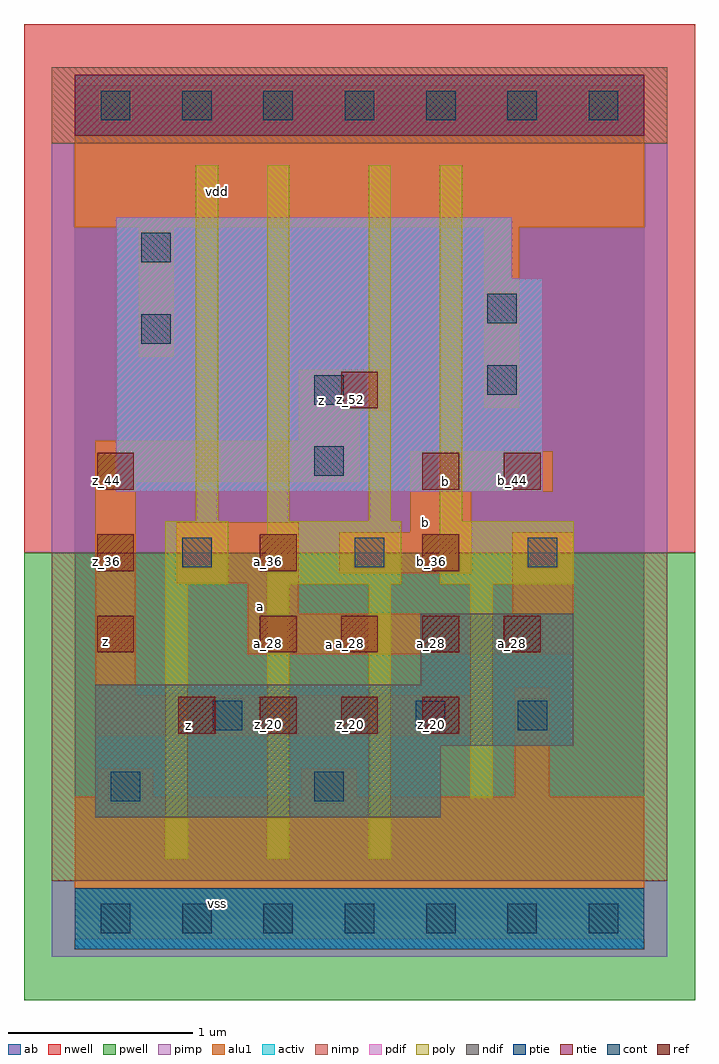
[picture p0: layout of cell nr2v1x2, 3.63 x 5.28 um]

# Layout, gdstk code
import gdstk
lib = gdstk.Library(unit=1e-6, precision=2.5e-09)
def R(c, l, rs):  # rectangles x0, y0, x1, y1
    for r in rs: c.add(gdstk.rectangle(r[:2], r[2:], *l))
def A(c, l, x, y, w, h, nx, ny, dx, dy):  # array of equal rectangles
    R(c, l, [(x+i*dx, y+j*dy, x+i*dx+w, y+j*dy+h) for i in range(nx) for j in range(ny)])
ndif = (3, 0)
pdif = (4, 0)
ntie = (5, 0)
ptie = (6, 0)
ref = (24, 0)
cont = (25, 0)
pwell = (41, 0)
nwell = (42, 0)
activ = (43, 0)
pimp = (44, 0)
nimp = (45, 0)
poly = (46, 0)
alu1 = (49, 0)
ab = (63, 0)

nr2v1x2 = lib.new_cell('nr2v1x2')
R(nr2v1x2, ndif, [(0.11,0.55,1.98,0.935), (0.11,0.935,2.695,1.265), (1.87,1.265,2.695,1.65)])
R(nr2v1x2, pdif, [(0.22,2.31,2.53,3.465), (0.22,3.465,2.365,3.795)])
R(nr2v1x2, ntie, [(0,4.235,3.08,4.565)])
R(nr2v1x2, ptie, [(0,-0.165,3.08,0.165)])
A(nr2v1x2, ref, 0.56, 1, 0.2, 0.2, 4, 1, 0.44, 0)
A(nr2v1x2, ref, 1, 1.44, 0.2, 0.2, 4, 1, 0.44, 0)
A(nr2v1x2, ref, 0.12, 1.88, 0.2, 0.2, 3, 1, 0.88, 0)
R(nr2v1x2, ref, [(0.12,1.44,0.32,1.64), (0.12,2.32,0.32,2.52), (1.88,2.32,2.08,2.52), (2.32,2.32,2.52,2.52), (1.44,2.76,1.64,2.96)])
A(nr2v1x2, cont, 0.14, -0.08, 0.16, 0.16, 7, 2, 0.44, 4.4)
A(nr2v1x2, cont, 0.58, 1.9, 0.16, 0.16, 3, 1, 0.935, 0)
R(nr2v1x2, cont, [(0.195,0.635,0.355,0.795), (1.295,0.635,1.455,0.795), (0.745,1.02,0.905,1.18), (1.845,1.02,2.005,1.18), (2.395,1.02,2.555,1.18), (1.295,2.395,1.455,2.555), (1.295,2.78,1.455,2.94), (2.23,2.835,2.39,2.995), (0.36,3.11,0.52,3.27), (2.23,3.22,2.39,3.38), (0.36,3.55,0.52,3.71)])
R(nr2v1x2, pwell, [(-0.275,-0.44,3.355,1.98)])
R(nr2v1x2, nwell, [(-0.275,1.98,3.355,4.84)])
R(nr2v1x2, activ, [(0,-0.165,3.08,0.165), (0.11,0.55,1.98,0.935), (0.11,0.935,2.695,1.265), (1.87,1.265,2.695,1.65), (0.22,2.31,2.53,3.465), (0.22,3.465,2.365,3.795), (0,4.235,3.08,4.565)])
R(nr2v1x2, pimp, [(-0.125,-0.205,3.205,0.205), (-0.125,1.98,3.205,4.195)])
R(nr2v1x2, nimp, [(-0.125,0.205,3.205,1.98), (-0.125,4.195,3.205,4.605)])
A(nr2v1x2, poly, 0.49, 0.325, 0.12, 1.485, 3, 1, 0.55, 0)
R(nr2v1x2, poly, [(2.14,0.655,2.26,1.81), (0.49,1.81,0.83,2.15), (1.04,1.81,1.765,2.15), (1.975,1.81,2.7,2.15), (0.655,2.15,0.775,4.075), (1.04,2.15,1.16,4.075), (1.59,2.15,1.71,4.075), (1.975,2.15,2.095,4.075)])
R(nr2v1x2, alu1, [(0,-0.11,3.08,0.66), (0.125,0.66,0.425,0.81), (1.225,0.66,1.525,0.81), (2.38,0.66,2.57,1.25), (0.11,0.99,2.145,1.21), (0.11,1.21,0.33,2.365), (0.935,1.43,2.695,1.65), (0.935,1.65,1.21,1.815), (2.365,1.65,2.695,2.09), (0.55,1.815,1.21,2.145), (1.43,1.87,2.145,2.09), (1.815,2.09,2.145,2.31), (1.815,2.31,2.585,2.53), (0.11,2.365,1.54,2.585), (1.21,2.585,1.54,2.75), (1.21,2.75,1.705,2.97), (2.215,2.765,2.405,3.74), (0.345,3.04,0.535,3.74), (0,3.74,3.08,4.51)])
R(nr2v1x2, ab, [(0,0,3.08,4.4)])
nr2v1x2.add(gdstk.Label('vss', (0.77,0.0825), layer=49, texttype=0))
nr2v1x2.add(gdstk.Label('z', (0.6175,1.045), layer=49, texttype=0))
nr2v1x2.add(gdstk.Label('a', (1.375,1.485), layer=49, texttype=0))
nr2v1x2.add(gdstk.Label('a', (1.0025,1.69), layer=49, texttype=0))
nr2v1x2.add(gdstk.Label('b', (1.8975,2.145), layer=49, texttype=0))
nr2v1x2.add(gdstk.Label('b', (2.0075,2.365), layer=49, texttype=0))
nr2v1x2.add(gdstk.Label('z', (0.165,1.4975), layer=49, texttype=0))
nr2v1x2.add(gdstk.Label('z', (1.3325,2.805), layer=49, texttype=0))
nr2v1x2.add(gdstk.Label('vdd', (0.77,3.9325), layer=49, texttype=0))
nr2v1x2.add(gdstk.Label('a_28', (1.05,1.49), layer=24, texttype=0))
nr2v1x2.add(gdstk.Label('z_20', (0.61,1.05), layer=24, texttype=0))
nr2v1x2.add(gdstk.Label('z_28', (0.17,1.49), layer=24, texttype=0))
nr2v1x2.add(gdstk.Label('b_44', (2.37,2.37), layer=24, texttype=0))
nr2v1x2.add(gdstk.Label('a_28', (2.37,1.49), layer=24, texttype=0))
nr2v1x2.add(gdstk.Label('z_44', (0.17,2.37), layer=24, texttype=0))
nr2v1x2.add(gdstk.Label('z_36', (0.17,1.93), layer=24, texttype=0))
nr2v1x2.add(gdstk.Label('b_44', (1.93,2.37), layer=24, texttype=0))
nr2v1x2.add(gdstk.Label('b_36', (1.93,1.93), layer=24, texttype=0))
nr2v1x2.add(gdstk.Label('a_28', (1.93,1.49), layer=24, texttype=0))
nr2v1x2.add(gdstk.Label('z_20', (1.93,1.05), layer=24, texttype=0))
nr2v1x2.add(gdstk.Label('z_52', (1.49,2.81), layer=24, texttype=0))
nr2v1x2.add(gdstk.Label('a_28', (1.49,1.49), layer=24, texttype=0))
nr2v1x2.add(gdstk.Label('z_20', (1.49,1.05), layer=24, texttype=0))
nr2v1x2.add(gdstk.Label('a_36', (1.05,1.93), layer=24, texttype=0))
nr2v1x2.add(gdstk.Label('z_20', (1.05,1.05), layer=24, texttype=0))

lib.write_gds('nr2v1x2.gds')
